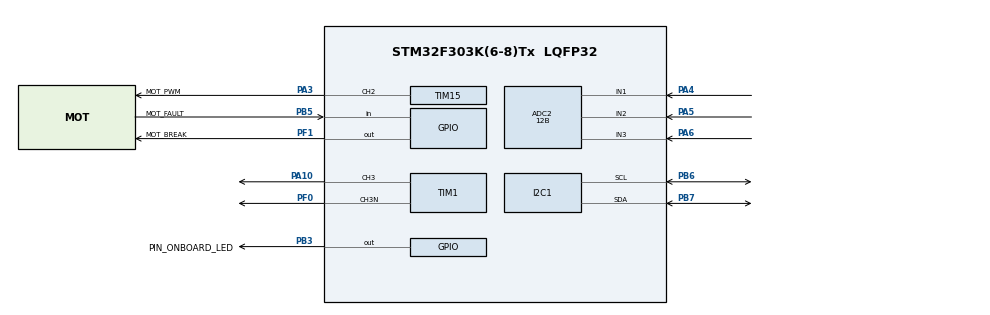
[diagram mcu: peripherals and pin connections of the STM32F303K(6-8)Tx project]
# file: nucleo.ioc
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ADC2.Channel-2\#ChannelRegularConversion=ADC_CHANNEL_1
ADC2.Channel-3\#ChannelRegularConversion=ADC_CHANNEL_2
ADC2.Channel-4\#ChannelRegularConversion=ADC_CHANNEL_3
ADC2.ContinuousConvMode=DISABLE
ADC2.DiscontinuousConvMode=ENABLE
ADC2.EOCSelection=ADC_EOC_SEQ_CONV
ADC2.EnableInjectedConversion=DISABLE
ADC2.EnableRegularConversion=ENABLE
ADC2.NbrOfConversion=3
ADC2.NbrOfConversionFlag=1
ADC2.Offset-2\#ChannelRegularConversion=0
ADC2.Offset-3\#ChannelRegularConversion=0
ADC2.Offset-4\#ChannelRegularConversion=0
ADC2.OffsetNumber-2\#ChannelRegularConversion=ADC_OFFSET_NONE
ADC2.OffsetNumber-3\#ChannelRegularConversion=ADC_OFFSET_NONE
ADC2.OffsetNumber-4\#ChannelRegularConversion=ADC_OFFSET_NONE
ADC2.Rank-2\#ChannelRegularConversion=1
ADC2.Rank-3\#ChannelRegularConversion=2
ADC2.Rank-4\#ChannelRegularConversion=3
ADC2.Resolution=ADC_RESOLUTION_12B
ADC2.SamplingTime-2\#ChannelRegularConversion=ADC_SAMPLETIME_1CYCLE_5
ADC2.SamplingTime-3\#ChannelRegularConversion=ADC_SAMPLETIME_1CYCLE_5
ADC2.SamplingTime-4\#ChannelRegularConversion=ADC_SAMPLETIME_1CYCLE_5
ADC2.SamplingTimeOPAMP-2\#ChannelRegularConversion=ADC_SAMPLETIME_4CYCLES_5
ADC2.SamplingTimeOPAMP-3\#ChannelRegularConversion=ADC_SAMPLETIME_4CYCLES_5
ADC2.SamplingTimeOPAMP-4\#ChannelRegularConversion=ADC_SAMPLETIME_4CYCLES_5
ADC2.SubFamily=STM32F303x8
I2C1.OwnAddress=0x12
I2C1.Timing=0x00201D2B
Mcu.Family=STM32F3
Mcu.Name=STM32F303K(6-8)Tx
Mcu.Package=LQFP32
NVIC.I2C1_ER_IRQn=true\:0\:0\:false\:false\:true\:true\:true\:true
NVIC.I2C1_EV_IRQn=true\:0\:0\:false\:false\:true\:true\:true\:true
NVIC.PriorityGroup=NVIC_PRIORITYGROUP_4
NVIC.TIM2_IRQn=true\:15\:0\:false\:false\:true\:false\:true\:true
NVIC.TimeBase=TIM2_IRQn
NVIC.TimeBaseIP=TIM2
PA10.Signal=S_TIM1_CH3
PA3.GPIO_Label=MOT_PWM
PA3.Signal=S_TIM15_CH2
PA4.Mode=IN1-Single-Ended
PA4.Signal=ADC2_IN1
PA5.Mode=IN2-Single-Ended
PA5.Signal=ADC2_IN2
PA6.Mode=IN3-Single-Ended
PA6.Signal=ADC2_IN3
PB3.GPIO_Label=PIN_ONBOARD_LED
PB3.Signal=GPIO_Output
PB5.GPIO_Label=MOT_FAULT
PB5.Signal=GPIO_Input
PB6.GPIO_Pu=GPIO_PULLUP
PB6.Mode=I2C
PB6.Signal=I2C1_SCL
PB7.GPIO_Pu=GPIO_PULLUP
PB7.Mode=I2C
PB7.Signal=I2C1_SDA
PF0\ /\ OSC_IN.Mode=PWM Generation3 CH3 CH3N
PF0\ /\ OSC_IN.Signal=TIM1_CH3N
PF1\ /\ OSC_OUT.GPIO_Label=MOT_BREAK
PF1\ /\ OSC_OUT.Signal=GPIO_Output
ProjectManager.HeapSize=0x200
ProjectManager.StackSize=0x400
ProjectManager.TargetToolchain=STM32CubeIDE
RCC.ADC12PRES=RCC_ADC12PLLCLK_DIV256
RCC.AHBFreq_Value=32000000
RCC.APB1CLKDivider=RCC_HCLK_DIV2
RCC.APB1Freq_Value=16000000
RCC.APB1TimFreq_Value=32000000
RCC.APB2CLKDivider=RCC_HCLK_DIV4
RCC.APB2Freq_Value=8000000
RCC.APB2TimFreq_Value=16000000
RCC.CortexFreq_Value=32000000
RCC.HCLKFreq_Value=32000000
RCC.HSE_VALUE=8000000
RCC.HSI_VALUE=8000000
RCC.PLLMUL=RCC_PLL_MUL8
RCC.SYSCLKFreq_VALUE=32000000
RCC.SYSCLKSourceVirtual=RCC_SYSCLKSOURCE_PLLCLK
SH.S_TIM15_CH2.0=TIM15_CH2,PWM Generation2 CH2
SH.S_TIM1_CH3.0=TIM1_CH3,PWM Generation3 CH3 CH3N
TIM1.Channel-PWM\ Generation3\ CH3\ CH3N=TIM_CHANNEL_3
TIM1.DeadTime=0
TIM1.OCMode_PWM-PWM\ Generation3\ CH3\ CH3N=TIM_OCMODE_PWM2
TIM15.Channel-PWM\ Generation2\ CH2=TIM_CHANNEL_2
VP_SYS_VS_tim2.Mode=TIM2
VP_TIM15_VS_ClockSourceINT.Mode=Internal
VP_TIM1_VS_ClockSourceINT.Mode=Internal
board=custom

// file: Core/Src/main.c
/* USER CODE BEGIN Header */
/**
 ******************************************************************************
 * @file           : main.c
 * @brief          : Main program body
 ******************************************************************************
 * @attention
 *
 * Copyright (c) 2024 STMicroelectronics.
 * All rights reserved.
 *
 * This software is licensed under terms that can be found in the LICENSE file
 * in the root directory of this software component.
 * If no LICENSE file comes with this software, it is provided AS-IS.
 *
 ******************************************************************************
 */
/* USER CODE END Header */
#include "main.h"
#include "adc.h"
#include "gpio.h"
#include "i2c.h"
#include "tim.h"

/* USER CODE BEGIN Includes */
#include "induction.h"
#include "motor_control.h"

/* USER CODE END Includes */

/* USER CODE BEGIN PD */
#define HW_CYCLE_MS ( 10 )
/* USER CODE END PD */

/* USER CODE BEGIN PV */
static GPIO_BLINK_PIN_t gpio_blink_pin = {
    .interval_ticks = 300,
};

static MOT_CTRL_t motor_control = {
    .i2c_if =
        {
                 .target_speed_duty_cycle = 0,
                 .slope_duty_cycle_per_s  = 10,
                 },
};

static INDUCTION_t induction = {
    .i2c_if = { .frequency = 17000, .dead_time = 500 },
};

static TRIPLE_ADC_t adc_triplet = {};

static I2C_DATA_MEM_t i2c_data_memory = {
    .data[ I2C_ADDR_LED_BLINK ]                  = {&gpio_blink_pin.interval_ticks,                 I2C_ENTRY_TYPE_READ_WRITE},
    .data[ I2C_ADDR_MOT_DUTY_CYCLE_SET ]         = {&motor_control.i2c_if.target_speed_duty_cycle,  I2C_ENTRY_TYPE_READ_WRITE},
    .data[ I2C_ADDR_MOT_DUTY_CYCLE_IS ]          = {&motor_control.i2c_if.current_speed_duty_cycle, I2C_ENTRY_TYPE_READ      },
    .data[ I2C_ADDR_MOT_DUTY_CYCLE_SLOPE_PER_S ] = {&motor_control.i2c_if.slope_duty_cycle_per_s,   I2C_ENTRY_TYPE_READ_WRITE},
    .data[ I2C_ADDR_MOT_DUTY_RESET ]             = {&motor_control.i2c_if.reset_duty_cycles,        I2C_ENTRY_TYPE_WRITE     },
};
/* USER CODE END PV */

void SystemClock_Config( void );

int main( void )
{

    /* MCU Configuration--------------------------------------------------------*/

    /* Reset of all peripherals, Initializes the Flash interface and the Systick. */
    HAL_Init();

    /* Configure the system clock */
    SystemClock_Config();

    /* Initialize all configured peripherals */
    MX_GPIO_Init();
    MX_ADC2_Init();
    MX_I2C1_Init();
    MX_TIM1_Init();
    MX_TIM15_Init();
    /* USER CODE BEGIN 2 */

    i2c_init( &i2c_data_memory );
    gpio_init_onboard_led( &gpio_blink_pin );
    mot_ctrl_init( &motor_control, &htim15, TIM_CHANNEL_2 );
    adc_init( &adc_triplet, &hadc2 );
    ind_init( &induction, &htim1 );

    /* USER CODE END 2 */

    /* Infinite loop */
    /* USER CODE BEGIN WHILE */
    uint32_t last_uwTick = 0;

    while ( 1 )
    {
        if ( uwTick - last_uwTick >= HW_CYCLE_MS )  // 10ms
        {
            /* Sstick increased. do a cycle */
            last_uwTick = uwTick;

            uint8_t has_update = i2c_update();

            gpio_update_onboard_led( &gpio_blink_pin, uwTick );
            adc_update( &adc_triplet );
            ind_update( &induction, uwTick );
            mot_ctrl_update( &motor_control, uwTick );
        }
        /* USER CODE END WHILE */

    }
}

void SystemClock_Config( void )
{
    RCC_OscInitTypeDef RCC_OscInitStruct   = { 0 };
    RCC_ClkInitTypeDef RCC_ClkInitStruct   = { 0 };
    RCC_PeriphCLKInitTypeDef PeriphClkInit = { 0 };

    /** Initializes the RCC Oscillators according to the specified parameters
     * in the RCC_OscInitTypeDef structure.
     */
    RCC_OscInitStruct.OscillatorType      = RCC_OSCILLATORTYPE_HSI;
    RCC_OscInitStruct.HSIState            = RCC_HSI_ON;
    RCC_OscInitStruct.HSICalibrationValue = RCC_HSICALIBRATION_DEFAULT;
    RCC_OscInitStruct.PLL.PLLState        = RCC_PLL_ON;
    RCC_OscInitStruct.PLL.PLLSource       = RCC_PLLSOURCE_HSI;
    RCC_OscInitStruct.PLL.PLLMUL          = RCC_PLL_MUL8;
    if ( HAL_RCC_OscConfig( &RCC_OscInitStruct ) != HAL_OK )
    {
        Error_Handler();
    }

    /** Initializes the CPU, AHB and APB buses clocks
     */
    RCC_ClkInitStruct.ClockType      = RCC_CLOCKTYPE_HCLK | RCC_CLOCKTYPE_SYSCLK | RCC_CLOCKTYPE_PCLK1 | RCC_CLOCKTYPE_PCLK2;
    RCC_ClkInitStruct.SYSCLKSource   = RCC_SYSCLKSOURCE_PLLCLK;
    RCC_ClkInitStruct.AHBCLKDivider  = RCC_SYSCLK_DIV1;
    RCC_ClkInitStruct.APB1CLKDivider = RCC_HCLK_DIV2;
    RCC_ClkInitStruct.APB2CLKDivider = RCC_HCLK_DIV4;

    if ( HAL_RCC_ClockConfig( &RCC_ClkInitStruct, FLASH_LATENCY_1 ) != HAL_OK )
    {
        Error_Handler();
    }
    PeriphClkInit.PeriphClockSelection = RCC_PERIPHCLK_I2C1 | RCC_PERIPHCLK_TIM1;
    PeriphClkInit.I2c1ClockSelection   = RCC_I2C1CLKSOURCE_HSI;
    PeriphClkInit.Tim1ClockSelection   = RCC_TIM1CLK_HCLK;
    if ( HAL_RCCEx_PeriphCLKConfig( &PeriphClkInit ) != HAL_OK )
    {
        Error_Handler();
    }
}

void HAL_TIM_PeriodElapsedCallback( TIM_HandleTypeDef* htim )
{
    if ( htim->Instance == TIM2 )
    {
        HAL_IncTick();
    }
}

void Error_Handler( void )
{
    __disable_irq();
    while ( 1 )
    {
    }
}
